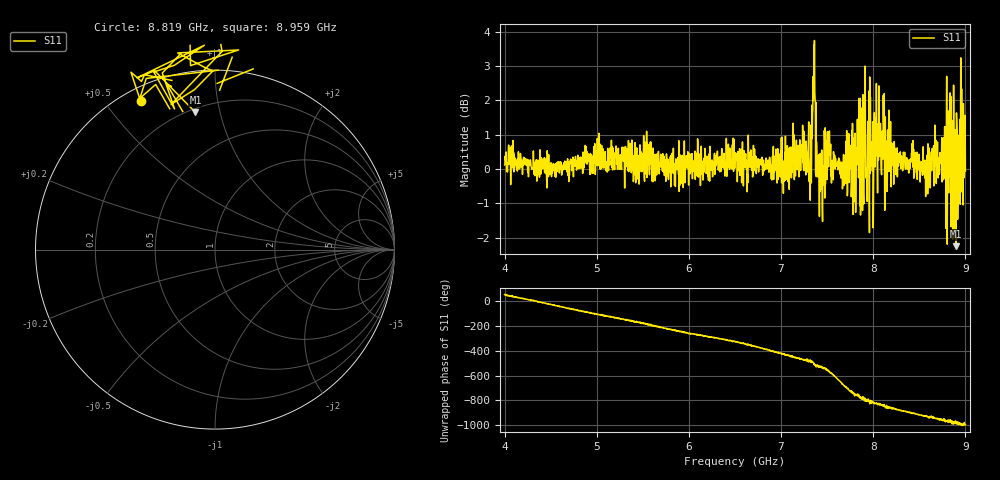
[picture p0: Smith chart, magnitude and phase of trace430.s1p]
! Created with skrf 1.8.0 (http://scikit-rf.org).
# Hz S RI R 50.0
!freq ReS11 ImS11
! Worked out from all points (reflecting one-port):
!   1601 points, 4 GHz to 9 GHz, reference 50 ohm
!   lowest |S11| = -2.2 dB at 8.9 GHz (marker M1), VSWR 7.78, Z = 11.1 + j42.1 ohm
!   phase of S11 starts at 53 deg and turns -1048 deg over the sweep
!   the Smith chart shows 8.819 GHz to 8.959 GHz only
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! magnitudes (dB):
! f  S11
! 4 GHz  0.1
! 4.625 GHz  -0.1
! 5.25 GHz  0.0
! 5.875 GHz  0.0
! 6.5 GHz  0.5
! 7.125 GHz  0.2
! 7.222 GHz  0.6
! 7.303 GHz  -0.3
! 7.328 GHz  -0.4
! 7.347 GHz  2.7
! 7.359 GHz  2.6
! 7.4 GHz  0.4
! 7.438 GHz  -0.6
! 7.503 GHz  1.1
! 7.662 GHz  0.2
! 7.75 GHz  0.1
! 7.788 GHz  0.1
! 7.85 GHz  0.7
! 7.881 GHz  0.9
! 7.962 GHz  2.7
! 7.997 GHz  1.1
! 8.05 GHz  1.3
! 8.375 GHz  0.2
! 8.578 GHz  -0.2
! 8.775 GHz  1.2
! 8.9 GHz  -2.2
! 8.956 GHz  0.2
! 9 GHz  -0.1
